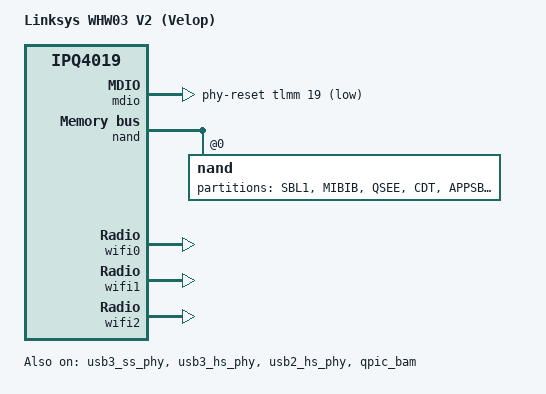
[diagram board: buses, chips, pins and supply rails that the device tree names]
// SPDX-License-Identifier: GPL-2.0-or-later OR MIT

#include "qcom-ipq4019-whw03.dtsi"

/ {
	model = "Linksys WHW03 V2 (Velop)";
	compatible = "linksys,whw03v2", "qcom,ipq4019";

	// Default bootargs include rootfstype=ext4 and need to be overriden.
	chosen {
		bootargs-append = " root=/dev/ubiblock0_0 rootfstype=squashfs ro";
		stdout-path = &blsp1_uart1;
	};
};

&tlmm {
	i2c_0_pins: i2c-0-pinmux {
		pins = "gpio20", "gpio21";
		function = "blsp_i2c0";
		bias-disable;
	};

	spi_0_pins: spi-0-pinmux {
		mux {
			pins = "gpio13", "gpio14", "gpio15";
			function = "blsp_spi0";
			drive-strength = <12>;
			bias-disable;
		};

		mux-cs {
			pins = "gpio12";
			drive-strength = <2>;
			bias-disable;
			output-high;
		};
	};
};

&spi_1_pins {
	mux-wake {
		pins = "gpio31";
		function = "gpio";
		bias-pull-up;
		output-high;
	};
};

&mdio {
	status = "okay";
	pinctrl-0 = <&mdio_pins>;
	pinctrl-names = "default";

	phy-reset-gpios = <&tlmm 19 GPIO_ACTIVE_LOW>;
};

&ethphy3 {
	reg = <0x1b>;
};

&ethphy4 {
	reg = <0x1c>;
};

&psgmiiphy {
	reg = <0x1d>;
};

&usb3_ss_phy {
	status = "okay";
};

&usb3_hs_phy {
	status = "okay";
};

&usb2_hs_phy {
	status = "okay";
};

&nand {
	status = "okay";

	nand@0 {
		partitions {
			compatible = "fixed-partitions";
			#address-cells = <1>;
			#size-cells = <1>;

			partition@0 {
				label = "SBL1";
				reg = <0x0 0x100000>;
				read-only;
			};

			partition@100000 {
				label = "MIBIB";
				reg = <0x100000 0x100000>;
				read-only;
			};

			partition@200000 {
				label = "QSEE";
				reg = <0x200000 0x100000>;
				read-only;
			};

			partition@300000 {
				label = "CDT";
				reg = <0x300000 0x80000>;
				read-only;
			};

			partition@380000 {
				label = "APPSBL";
				reg = <0x380000 0x200000>;
				read-only;
			};

			partition@580000 {
				label = "ART";
				reg = <0x580000 0x80000>;
				read-only;

				nvmem-layout {
					compatible = "fixed-layout";
					#address-cells = <1>;
					#size-cells = <1>;

					macaddr_gmac0: macaddr@0 {
						compatible = "mac-base";
						reg = <0x0 0x6>;
						#nvmem-cell-cells = <1>;
					};

					macaddr_gmac1: macaddr@6 {
						reg = <0x6 0x6>;
					};

					precal_art_1000: precal@1000 {
						reg = <0x1000 0x2f20>;
					};

					precal_art_5000: precal@5000 {
						reg = <0x5000 0x2f20>;
					};

					precal_art_9000: precal@9000 {
						reg = <0x9000 0x2f20>;
					};
				};
			};

			partition@600000 {
				label = "u_env";
				reg = <0x600000 0x80000>;
			};

			partition@680000 {
				label = "s_env";
				reg = <0x680000 0x40000>;
			};

			partition@6c0000 {
				label = "devinfo";
				reg = <0x6c0000 0x40000>;
				read-only;
			};

			partition@700000 {
				label = "kernel";
				reg = <0x700000 0xa100000>;
			};

			partition@d00000 {
				label = "rootfs";
				reg = <0xd00000 0x9b00000>;
			};

			partition@a800000 {
				label = "alt_kernel";
				reg = <0xa800000 0xa100000>;
			};

			partition@ae00000 {
				label = "alt_rootfs";
				reg = <0xae00000 0x9b00000>;
			};

			partition@14900000 {
				label = "sysdiag";
				reg = <0x14900000 0x200000>;
				read-only;
			};

			partition@14b00000 {
				label = "syscfg";
				reg = <0x14b00000 0xb500000>;
				read-only;
			};
		};
	};
};

&qpic_bam {
	status = "okay";
};

&swport4 {
	nvmem-cell-names = "mac-address";
	nvmem-cells = <&macaddr_gmac1>;
};

&swport5 {
	nvmem-cell-names = "mac-address";
	nvmem-cells = <&macaddr_gmac0 0>;
};

&wifi0 {
	qcom,ath10k-calibration-variant = "linksys-whw03v2";

	nvmem-cell-names = "pre-calibration", "mac-address";
	nvmem-cells = <&precal_art_1000>, <&macaddr_gmac0 1>;
};

&wifi1 {
	qcom,ath10k-calibration-variant = "linksys-whw03v2";

	nvmem-cell-names = "pre-calibration", "mac-address";
	nvmem-cells = <&precal_art_5000>, <&macaddr_gmac0 2>;
};

&wifi2 {
	reg = <0x00010000 0 0 0 0>;

	qcom,ath10k-calibration-variant = "linksys-whw03v2";

	nvmem-cell-names = "pre-calibration", "mac-address";
	nvmem-cells = <&precal_art_9000>, <&macaddr_gmac0 3>;
};
